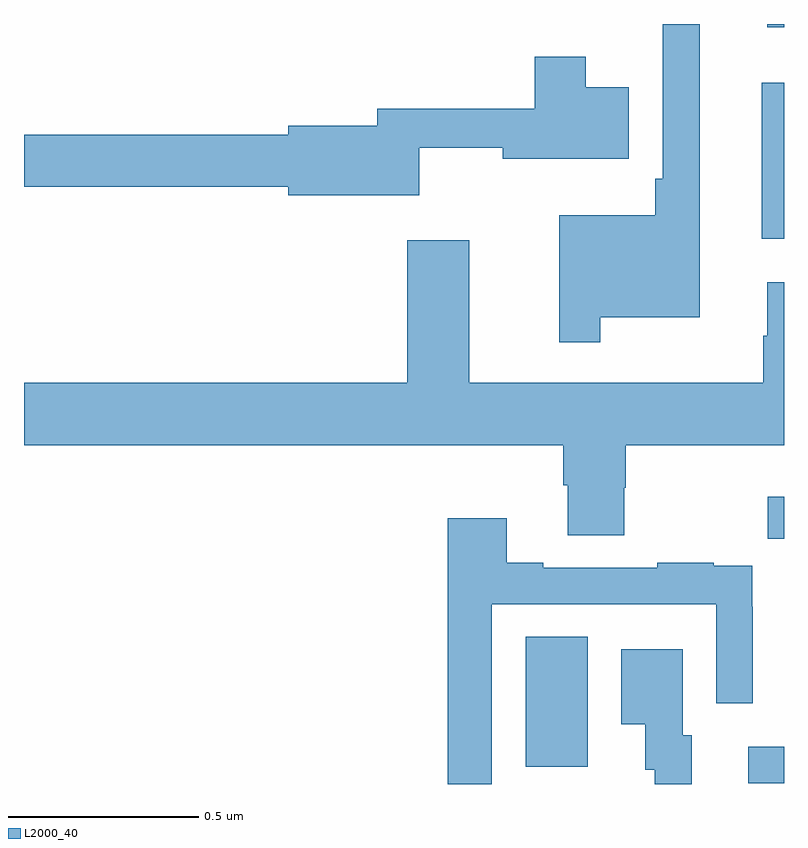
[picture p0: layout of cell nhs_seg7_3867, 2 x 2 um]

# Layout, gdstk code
import gdstk
lib = gdstk.Library(unit=1e-6, precision=1e-09)
def R(c, l, rs):  # rectangles x0, y0, x1, y1
    for r in rs: c.add(gdstk.rectangle(r[:2], r[2:], *l))
def P(c, l, *ps):  # polygons
    for p in ps: c.add(gdstk.Polygon(p, *l))
L2000_40 = (2000, 40)

nhs_seg7_3867 = lib.new_cell('nhs_seg7_3867')
R(nhs_seg7_3867, L2000_40, [(165.906,1057.002,166,1057.098), (165.32,1057.045,165.484,1057.388), (165.957,1057.646,166,1057.756), (165.941,1058.435,166,1058.845), (165.956,1058.991,166,1059), (165.403,1058.999,165.503,1059)])
P(nhs_seg7_3867, L2000_40, [(165.517,1058.228),(165.778,1058.228),(165.778,1059),(165.681,1059),(165.681,1058.593),(165.661,1058.593),(165.661,1058.497),(165.408,1058.497),(165.408,1058.163),(165.517,1058.163)],
  [(165.04,1058.674),(165.26,1058.674),(165.26,1058.645),(165.592,1058.645),(165.592,1058.833),(165.478,1058.833),(165.478,1058.914),(165.344,1058.914),(165.344,1058.777),(164.93,1058.777),(164.93,1058.732),(164.696,1058.732),(164.696,1058.708),(164,1058.708),(164,1058.572),(164.696,1058.572),(164.696,1058.549),(165.04,1058.549)],
  [(165.579,1057.779),(165.584,1057.779),(165.584,1057.892),(166,1057.892),(166,1058.32),(165.956,1058.32),(165.956,1058.18),(165.945,1058.18),(165.945,1058.056),(165.172,1058.056),(165.172,1058.431),(165.008,1058.431),(165.008,1058.056),(164,1058.056),(164,1057.892),(165.419,1057.892),(165.419,1057.786),(165.431,1057.786),(165.431,1057.654),(165.579,1057.654)],
  [(165.231,1057.473),(165.822,1057.473),(165.822,1057.212),(165.918,1057.212),(165.918,1057.466),(165.917,1057.466),(165.917,1057.575),(165.815,1057.575),(165.815,1057.582),(165.667,1057.582),(165.667,1057.569),(165.367,1057.569),(165.367,1057.582),(165.271,1057.582),(165.271,1057.699),(165.115,1057.699),(165.115,1057),(165.231,1057)],
  [(165.757,1057.128),(165.733,1057.128),(165.733,1057.354),(165.572,1057.354),(165.572,1057.157),(165.635,1057.157),(165.635,1057.038),(165.66,1057.038),(165.66,1057),(165.757,1057)])

lib.write_gds('nhs_seg7_3867.gds')
